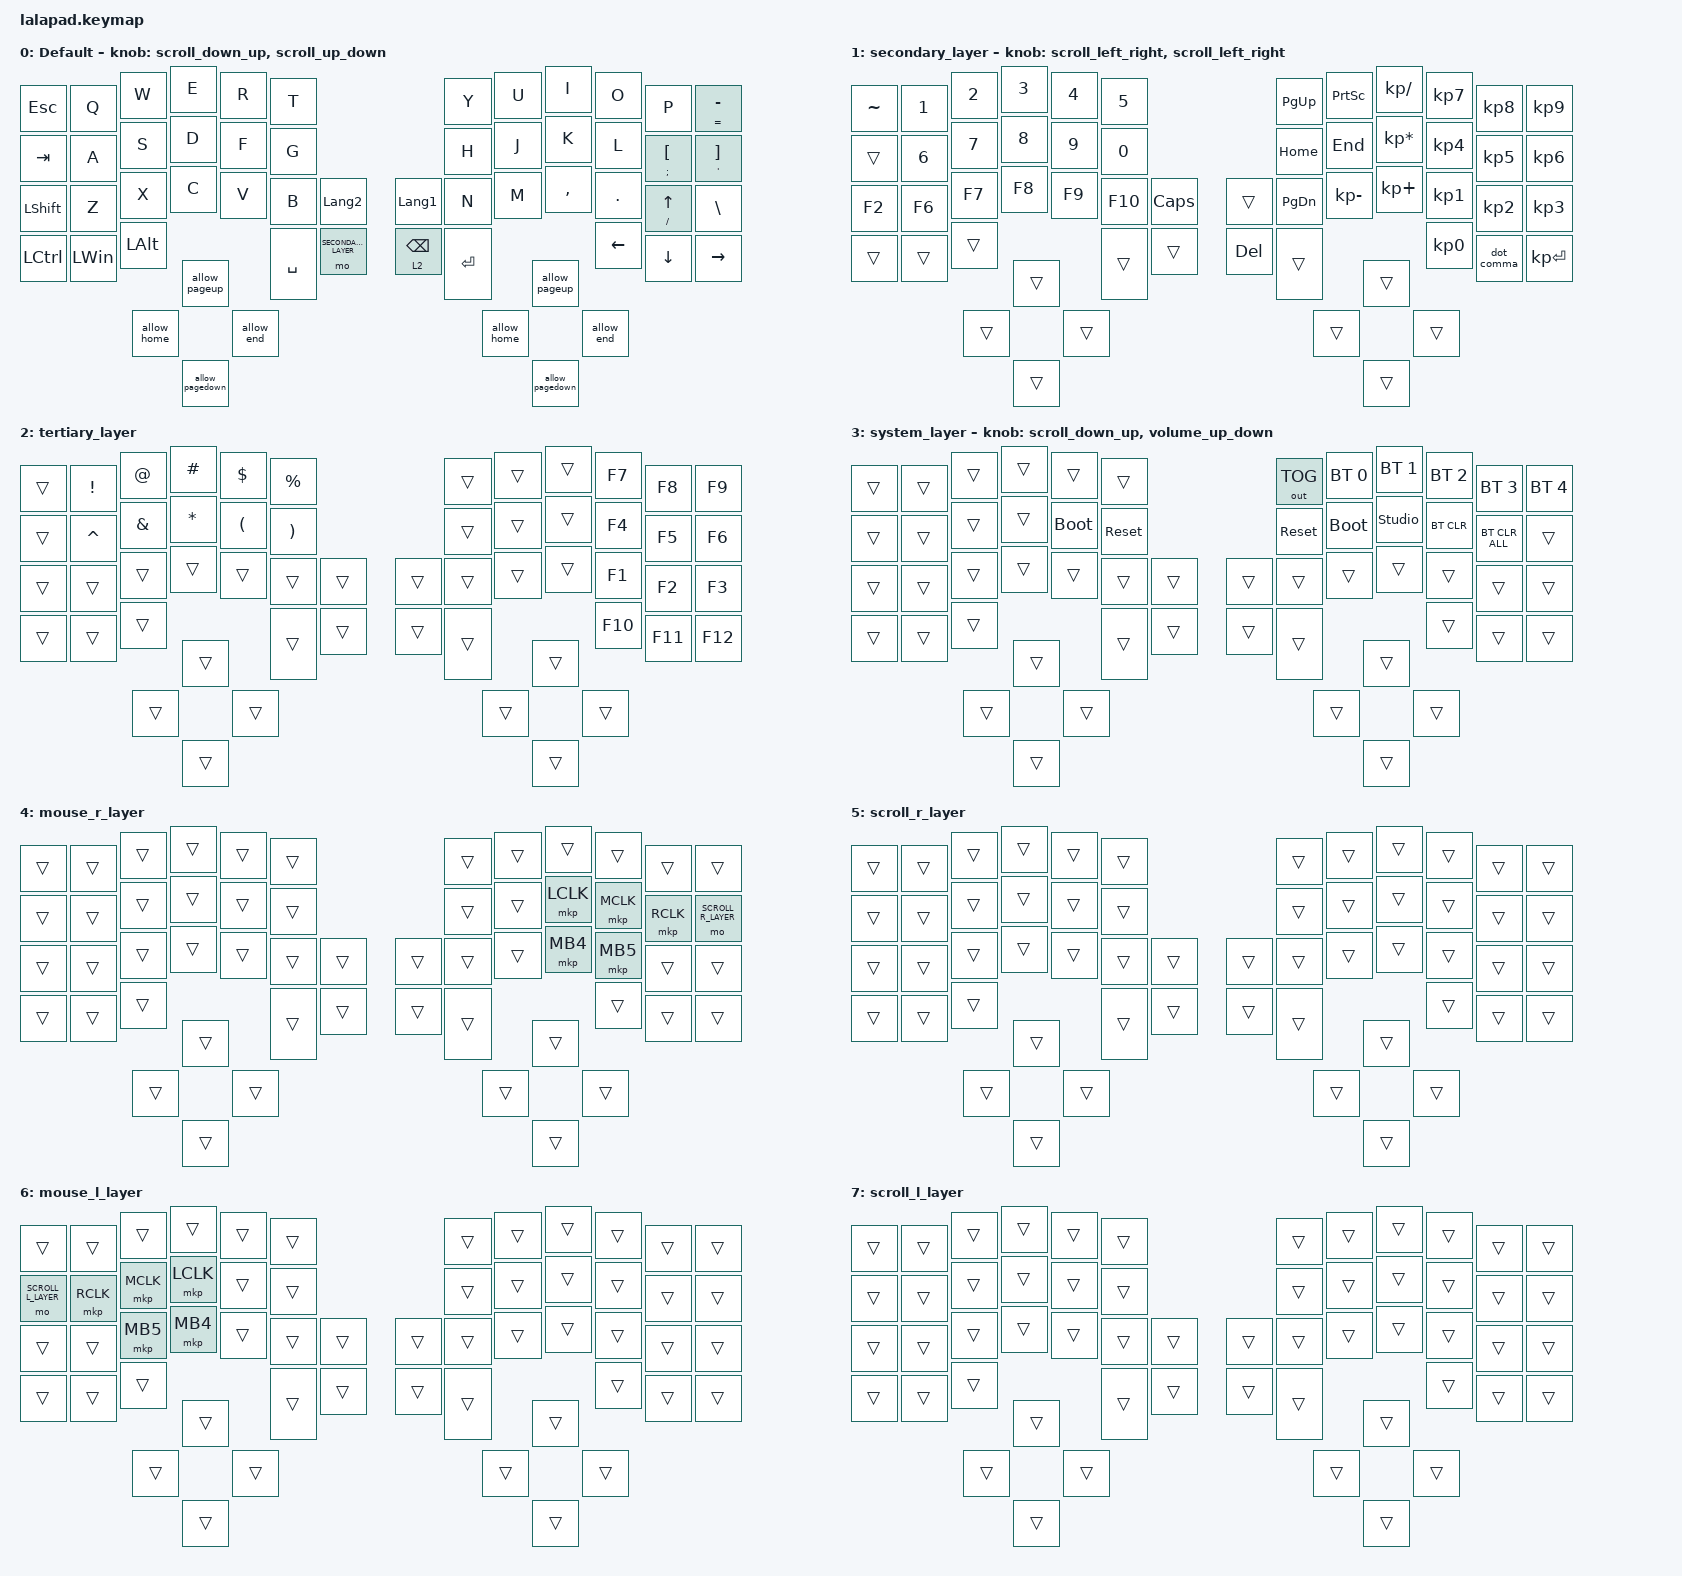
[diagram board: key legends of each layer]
#include <input/processors.dtsi>
#include <behaviors.dtsi>
#include <dt-bindings/zmk/bt.h>
#include <dt-bindings/zmk/keys.h>
#include <dt-bindings/zmk/outputs.h>
#include <dt-bindings/zmk/pointing.h>

#define DEFAULT_LAYER   0
#define SECONDARY_LAYER 1
#define TERTIARY_LAYER  2
#define SYSTEM_LAYER    3
#define MOUSE_R_LAYER   4
#define SCROLL_R_LAYER  5
#define MOUSE_L_LAYER   6
#define SCROLL_L_LAYER  7

// Mouse Scroll Value

#define ZMK_POINTING_DEFAULT_SCRL_VAL 100
#define ZMK_TEMP_LAYER_SEC 300

// cirque trackpad input&layer control

&glidepoint_listener_R {
    input-processors =
        <&zip_xy_transform (INPUT_TRANSFORM_XY_SWAP | INPUT_TRANSFORM_X_INVERT | INPUT_TRANSFORM_Y_INVERT)>,
        <&zip_xy_scaler 4 2>,
        <&zip_temp_layer MOUSE_R_LAYER ZMK_TEMP_LAYER_SEC>;

    lowspeedmode {
        layers = <SECONDARY_LAYER>;
        input-processors =
            <&zip_xy_transform (INPUT_TRANSFORM_XY_SWAP | INPUT_TRANSFORM_X_INVERT | INPUT_TRANSFORM_Y_INVERT)>,
            <&zip_xy_scaler 3 5>,
            <&zip_temp_layer MOUSE_R_LAYER ZMK_TEMP_LAYER_SEC>;
    };

    scroller {
        layers = <SCROLL_R_LAYER>;
        input-processors =
            <&zip_xy_to_scroll_mapper>,
            <&zip_scroll_transform (INPUT_TRANSFORM_XY_SWAP | INPUT_TRANSFORM_Y_INVERT)>,
            <&zip_scroll_scaler 1 16>;
    };
};

&glidepoint_listener_L {
    input-processors =
        <&zip_xy_transform (INPUT_TRANSFORM_XY_SWAP | INPUT_TRANSFORM_X_INVERT | INPUT_TRANSFORM_Y_INVERT)>,
        <&zip_xy_scaler 3 2>,
        <&zip_temp_layer MOUSE_L_LAYER ZMK_TEMP_LAYER_SEC>;

    lowspeedmode {
        layers = <SECONDARY_LAYER>;
        input-processors =
            <&zip_xy_transform (INPUT_TRANSFORM_XY_SWAP | INPUT_TRANSFORM_X_INVERT | INPUT_TRANSFORM_Y_INVERT)>,
            <&zip_xy_scaler 3 4>,
            <&zip_temp_layer MOUSE_L_LAYER ZMK_TEMP_LAYER_SEC>;
    };

    scroller {
        layers = <SCROLL_L_LAYER>;
        input-processors =
            <&zip_xy_to_scroll_mapper>,
            <&zip_scroll_transform (INPUT_TRANSFORM_XY_SWAP | INPUT_TRANSFORM_Y_INVERT)>,
            <&zip_scroll_scaler 1 16>;
    };
};

&lt { quick-tap-ms = <200>; };

/ {
    behaviors {
        // Encoder to Mouse Scroll

        scroll_up_down: sensor_scroll_up_down {
            compatible = "zmk,behavior-sensor-rotate";
            #sensor-binding-cells = <0>;
            bindings = <&msc SCRL_UP>, <&msc SCRL_DOWN>;

            tap-ms = <20>;
            label = "SCROLL_UP_DOWN";
        };

        scroll_down_up: sensor_scroll_down_up {
            compatible = "zmk,behavior-sensor-rotate";
            #sensor-binding-cells = <0>;
            bindings = <&msc SCRL_DOWN>, <&msc SCRL_UP>;

            tap-ms = <20>;
            label = "SCROLL_DOWN_UP";
        };

        scroll_left_right: sensor_scroll_left_right {
            compatible = "zmk,behavior-sensor-rotate";
            #sensor-binding-cells = <0>;
            bindings = <&msc SCRL_LEFT>, <&msc SCRL_RIGHT>;

            tap-ms = <20>;
            label = "SCROLL_LEFT_RIGHT";
        };

        scroll_right_left: sensor_scroll_right_left {
            compatible = "zmk,behavior-sensor-rotate";
            #sensor-binding-cells = <0>;
            bindings = <&msc SCRL_RIGHT>, <&msc SCRL_LEFT>;

            tap-ms = <20>;
            label = "SCROLL_RIGHT_LEFT";
        };

        volume_up_down: sensor_volume_up_down {
            compatible = "zmk,behavior-sensor-rotate";
            #sensor-binding-cells = <0>;
            bindings = <&kp C_VOLUME_UP>, <&kp C_VOLUME_DOWN>;

            tap-ms = <20>;
            label = "VOLUME_UP_DOWN";
        };

        dot_comma: dot_comma {
            compatible = "zmk,behavior-mod-morph";
            #binding-cells = <0>;
            bindings = <&kp KP_DOT>, <&kp COMMA>;

            mods = <(MOD_LSFT|MOD_RSFT)>;
            label = "DOT_COMMA";
        };

        pls_minus: pls_minus {
            compatible = "zmk,behavior-mod-morph";
            #binding-cells = <0>;
            bindings = <&kp PLUS>, <&kp MINUS>;

            mods = <(MOD_LSFT|MOD_RSFT)>;
            label = "PLS_MINUS";
        };

        allow_pageup: allow_pageup {
            compatible = "zmk,behavior-mod-morph";
            #binding-cells = <0>;
            bindings = <&kp UP>, <&kp PAGE_UP>;

            mods = <(MOD_LCTL|MOD_RCTL)>;
            label = "ALLOW_PAGEUP";
        };

        allow_pagedown: allow_pagedown {
            compatible = "zmk,behavior-mod-morph";
            #binding-cells = <0>;
            bindings = <&kp DOWN>, <&kp PAGE_DOWN>;

            mods = <(MOD_LCTL|MOD_RCTL)>;
            label = "ALLOW_PAGEDOWN";
        };

        allow_home: allow_home {
            compatible = "zmk,behavior-mod-morph";
            #binding-cells = <0>;
            bindings = <&kp LEFT>, <&kp HOME>;

            mods = <(MOD_LCTL|MOD_RCTL)>;
            label = "ALLOW_HOME";
        };

        allow_end: allow_end {
            compatible = "zmk,behavior-mod-morph";
            #binding-cells = <0>;
            bindings = <&kp RIGHT>, <&kp END>;

            mods = <(MOD_LCTL|MOD_RCTL)>;
            label = "ALLOW_END";
        };

        mt2: mod_tap2 {
            compatible = "zmk,behavior-hold-tap";
            #binding-cells = <2>;
            flavor = "tap-preferred";
            tapping-term-ms = <200>;
            quick-tap-ms = <200>;
            require-prior-idle-ms = <125>;
            bindings = <&kp>, <&kp>;
        };
    };

    keymap {
        compatible = "zmk,keymap";

        DEFAULT_LAYER {
            display-name = "Default";
            sensor-bindings = <&scroll_down_up>, <&scroll_up_down>;

            bindings = <
&kp ESC    &kp Q         &kp W         &kp E            &kp R                &kp T           &kp Y           &kp U            &kp I            &kp O       &kp P           &mt EQUAL MINUS
&kp TAB    &kp A         &kp S         &kp D            &kp F                &kp G           &kp H           &kp J            &kp K            &kp L       &mt2 SEMI LBKT  &mt2 SQT RBKT
&kp LSHFT  &kp Z         &kp X         &kp C            &kp V                &kp B           &kp N           &kp M            &kp COMMA        &kp PERIOD  &mt2 SLASH UP   &kp BSLH
&kp LCTRL  &kp LEFT_WIN  &kp LEFT_ALT  &kp SPACE        &mo SECONDARY_LAYER  &kp LANGUAGE_2  &kp LANGUAGE_1  &lt 2 BACKSPACE  &kp RET          &kp LEFT    &kp DOWN        &kp RIGHT
                         &allow_end    &allow_pagedown  &allow_home          &allow_pageup   &allow_pageup   &allow_home      &allow_pagedown  &allow_end
            >;
        };

        SECONDARY_LAYER {
            display-name = "secondary_layer";
            sensor-bindings = <&scroll_left_right>, <&scroll_left_right>;

            bindings = <
&kp TILDE  &kp NUMBER_1  &kp NUMBER_2  &kp NUMBER_3  &kp NUMBER_4  &kp N5    &kp PAGE_UP    &kp PRINTSCREEN  &kp KP_SLASH     &kp KP_NUMBER_7  &kp KP_NUMBER_8  &kp KP_NUMBER_9
&trans     &kp NUMBER_6  &kp N7        &kp N8        &kp N9        &kp N0    &kp HOME       &kp END          &kp KP_ASTERISK  &kp KP_NUMBER_4  &kp KP_NUMBER_5  &kp KP_NUMBER_6
&kp F2     &kp F6        &kp F7        &kp F8        &kp F9        &kp F10   &kp PAGE_DOWN  &kp KP_MINUS     &kp KP_PLUS      &kp KP_NUMBER_1  &kp KP_NUMBER_2  &kp KP_NUMBER_3
&trans     &trans        &trans        &trans        &trans        &kp CAPS  &trans         &kp DELETE       &trans           &kp KP_NUMBER_0  &dot_comma       &kp KP_ENTER
                         &trans        &trans        &trans        &trans    &trans         &trans           &trans           &trans
            >;
        };

        TERTIARY_LAYER {
            display-name = "tertiary_layer";
            bindings = <
&trans  &kp EXCLAMATION  &kp AT_SIGN    &kp HASH      &kp DOLLAR            &kp PERCENT            &trans  &trans  &trans  &kp F7   &kp F8   &kp F9
&trans  &kp CARET        &kp AMPERSAND  &kp ASTERISK  &kp LEFT_PARENTHESIS  &kp RIGHT_PARENTHESIS  &trans  &trans  &trans  &kp F4   &kp F5   &kp F6
&trans  &trans           &trans         &trans        &trans                &trans                 &trans  &trans  &trans  &kp F1   &kp F2   &kp F3
&trans  &trans           &trans         &trans        &trans                &trans                 &trans  &trans  &trans  &kp F10  &kp F11  &kp F12
                         &trans         &trans        &trans                &trans                 &trans  &trans  &trans  &trans
            >;
        };

        SYSTEM_LAYER {
            display-name = "system_layer";
            sensor-bindings = <&scroll_down_up>, <&volume_up_down>;

            bindings = <
&trans  &trans  &trans  &trans  &trans       &trans      &out OUT_TOG  &bt BT_SEL 0  &bt BT_SEL 1    &bt BT_SEL 2  &bt BT_SEL 3    &bt BT_SEL 4
&trans  &trans  &trans  &trans  &bootloader  &sys_reset  &sys_reset    &bootloader   &studio_unlock  &bt BT_CLR    &bt BT_CLR_ALL  &trans
&trans  &trans  &trans  &trans  &trans       &trans      &trans        &trans        &trans          &trans        &trans          &trans
&trans  &trans  &trans  &trans  &trans       &trans      &trans        &trans        &trans          &trans        &trans          &trans
                &trans  &trans  &trans       &trans      &trans        &trans        &trans          &trans
            >;
        };

        MOUSE_R_LAYER {
            display-name = "mouse_r_layer";
            bindings = <
&trans  &trans  &trans  &trans  &trans  &trans  &trans  &trans  &trans     &trans     &trans     &trans
&trans  &trans  &trans  &trans  &trans  &trans  &trans  &trans  &mkp LCLK  &mkp MCLK  &mkp RCLK  &mo SCROLL_R_LAYER
&trans  &trans  &trans  &trans  &trans  &trans  &trans  &trans  &mkp MB4   &mkp MB5   &trans     &trans
&trans  &trans  &trans  &trans  &trans  &trans  &trans  &trans  &trans     &trans     &trans     &trans
                &trans  &trans  &trans  &trans  &trans  &trans  &trans     &trans
            >;
        };

        SCROLL_R_LAYER {
            display-name = "scroll_r_layer";
            bindings = <
&trans  &trans  &trans  &trans  &trans  &trans  &trans  &trans  &trans  &trans  &trans  &trans
&trans  &trans  &trans  &trans  &trans  &trans  &trans  &trans  &trans  &trans  &trans  &trans
&trans  &trans  &trans  &trans  &trans  &trans  &trans  &trans  &trans  &trans  &trans  &trans
&trans  &trans  &trans  &trans  &trans  &trans  &trans  &trans  &trans  &trans  &trans  &trans
                &trans  &trans  &trans  &trans  &trans  &trans  &trans  &trans
            >;
        };

        MOUSE_L_LAYER {
            display-name = "mouse_l_layer";
            bindings = <
&trans              &trans     &trans     &trans     &trans  &trans  &trans  &trans  &trans  &trans  &trans  &trans
&mo SCROLL_L_LAYER  &mkp RCLK  &mkp MCLK  &mkp LCLK  &trans  &trans  &trans  &trans  &trans  &trans  &trans  &trans
&trans              &trans     &mkp MB5   &mkp MB4   &trans  &trans  &trans  &trans  &trans  &trans  &trans  &trans
&trans              &trans     &trans     &trans     &trans  &trans  &trans  &trans  &trans  &trans  &trans  &trans
                               &trans     &trans     &trans  &trans  &trans  &trans  &trans  &trans
            >;
        };

        SCROLL_L_LAYER {
            display-name = "scroll_l_layer";
            bindings = <
&trans  &trans  &trans  &trans  &trans  &trans  &trans  &trans  &trans  &trans  &trans  &trans
&trans  &trans  &trans  &trans  &trans  &trans  &trans  &trans  &trans  &trans  &trans  &trans
&trans  &trans  &trans  &trans  &trans  &trans  &trans  &trans  &trans  &trans  &trans  &trans
&trans  &trans  &trans  &trans  &trans  &trans  &trans  &trans  &trans  &trans  &trans  &trans
                &trans  &trans  &trans  &trans  &trans  &trans  &trans  &trans
            >;
        };
    };

    conditional_layers {
        compatible = "zmk,conditional-layers";

        Cond_Syslayer {
            if-layers = <1 2>;
            then-layer = <3>;
        };
    };
};
